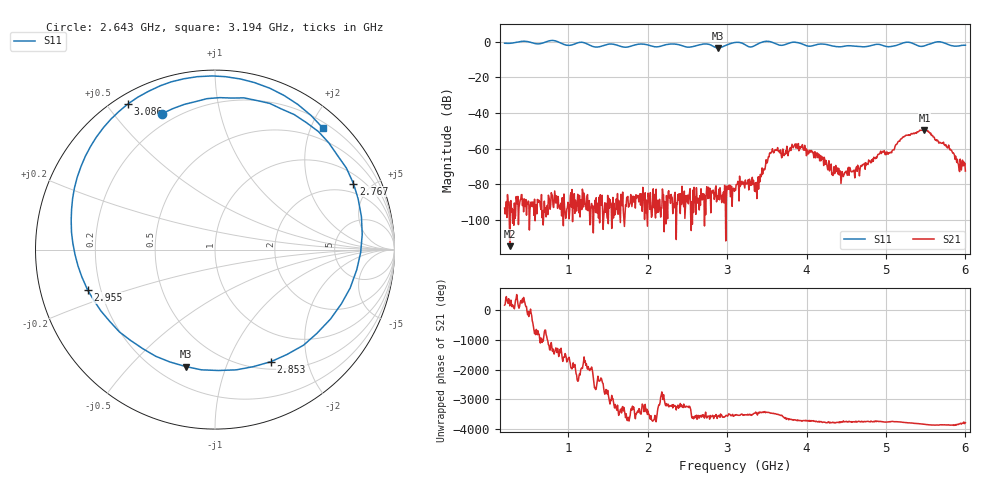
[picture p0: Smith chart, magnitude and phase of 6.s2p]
! NanoVNA-App by OneOfEleven et al v1.1.209 (+OD15)
! Date: 2024-07-30 15:11:38
! Start: 200MHz Stop: 6GHz Points: 801
! S-Parameter data: F S11 S21 S12 S22
# Hz S RI R 50
!  Frequency  S11_Real  S11_Imag  S21_Real  S21_Imag  S12_Real  S12_Imag  S22_Real  S22_Imag
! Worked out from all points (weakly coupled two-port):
!   801 points, 200 MHz to 6 GHz, reference 50 ohm
!   highest |S21| = -49.42 dB at 5.485 GHz (marker M1); lowest = -114.7 dB at 265.2 MHz (marker M2)
!   lowest |S11| = -3.5 dB at 2.89 GHz (marker M3), VSWR 5.09, Z = 15.4 - j36.6 ohm
!   |S11| at or under -10 dB: nowhere
!   S12 and S22 are empty: the file has one direction only
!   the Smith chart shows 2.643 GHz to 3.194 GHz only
!   S11 on the Smith chart (normalised r, x): 2.643 GHz: 0.15, +0.67; 2.767 GHz: 1.43, +3.92; 2.853 GHz: 0.59, -1.45; 2.955 GHz: 0.15, -0.15; 3.086 GHz: 0.04, +0.57; 3.194 GHz: 0.29, +2.19
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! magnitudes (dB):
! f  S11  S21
! 200 MHz  -0.8  -93.2
! 265.2 MHz  -0.9  -114.7
! 1.171 GHz  -0.3  -94.1
! 2.136 GHz  -2.8  -95.6
! 2.643 GHz  -1.8  -88.0
! 2.767 GHz  -1.4  -81.6
! 2.853 GHz  -3.1  -82.2
! 2.89 GHz  -3.5  -86.7
! 2.955 GHz  -2.6  -84.2
! 3.086 GHz  -0.5  -82.2
! 3.1 GHz  -0.4  -82.6
! 3.194 GHz  -0.9  -79.1
! 3.383 GHz  -1.3  -80.1
! 3.586 GHz  -0.6  -62.3
! 3.716 GHz  -1.8  -63.9
! 3.869 GHz  -0.3  -59.7
! 4.072 GHz  -2.3  -62.1
! 4.463 GHz  -2.6  -75.6
! 5.036 GHz  -2.8  -62.2
! 5.231 GHz  -0.5  -53.0
! 5.485 GHz  -2.3  -49.4
! 6 GHz  -1.9  -72.5
